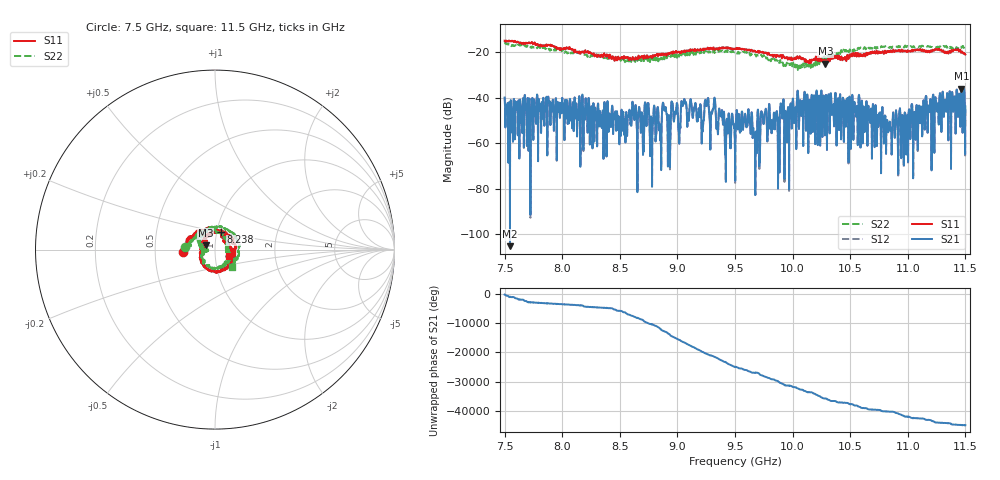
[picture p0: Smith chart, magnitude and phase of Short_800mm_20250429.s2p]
#  HZ  S  DB  R  50.00
! Rohde & Schwarz ZVA40 2Ports - Version 4.11 - 1145.1110k40 SN: 100216
! Date: 2025-04-29 18:34:55
! Measurements: S11 S21 S12 S22
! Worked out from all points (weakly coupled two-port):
!   5001 points, 7.5 GHz to 11.5 GHz, reference 50 ohm
!   highest |S21| = -36.04 dB at 11.47 GHz (marker M1); lowest = -105.3 dB at 7.546 GHz (marker M2)
!   lowest |S11| = -25.1 dB at 10.28 GHz (marker M3), VSWR 1.12, Z = 45.1 + j2.09 ohm
!   |S11| at or under -10 dB: start of sweep to end of sweep
!   |S22| runs from -28.4 to -15.6 dB; largest |S21 - S12| = 0.00015
!   S11 on the Smith chart (normalised r, x): 7.5 GHz: 0.70, -0.02; 8.238 GHz: 1.05, +0.20; 11.5 GHz: 1.17, -0.08
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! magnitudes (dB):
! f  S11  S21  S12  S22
! 7.5 GHz  -14.9  -40.0  -39.9  -15.6
! 7.546 GHz  -15.2  -105.3  -87.9  -16.7
! 8.167 GHz  -19.9  -43.7  -43.7  -20.7
! 8.238 GHz  -19.8  -54.1  -54.0  -22.1
! 8.694 GHz  -21.9  -47.3  -47.2  -23.4
! 8.734 GHz  -21.6  -50.3  -50.3  -22.7
! 8.834 GHz  -21.6  -45.9  -45.8  -24.0
! 8.887 GHz  -20.9  -45.4  -45.4  -23.0
! 8.925 GHz  -20.4  -47.6  -47.6  -21.9
! 9.054 GHz  -19.8  -42.3  -42.3  -21.1
! 9.211 GHz  -19.1  -60.2  -60.1  -20.7
! 9.254 GHz  -18.6  -43.6  -43.6  -19.9
! 9.422 GHz  -17.8  -59.9  -59.3  -19.3
! 9.5 GHz  -18.5  -64.6  -64.7  -19.8
! 9.63 GHz  -19.2  -51.2  -51.2  -21.4
! 9.672 GHz  -19.7  -57.8  -57.6  -21.1
! 9.748 GHz  -20.3  -51.6  -51.5  -21.4
! 10.17 GHz  -23.3  -38.7  -38.7  -24.6
! 10.28 GHz  -25.1  -43.5  -43.5  -23.5
! 10.83 GHz  -19.7  -52.9  -52.9  -18.0
! 11.47 GHz  -20.2  -36.0  -36.0  -18.1
! 11.5 GHz  -21.0  -43.8  -43.8  -17.6
